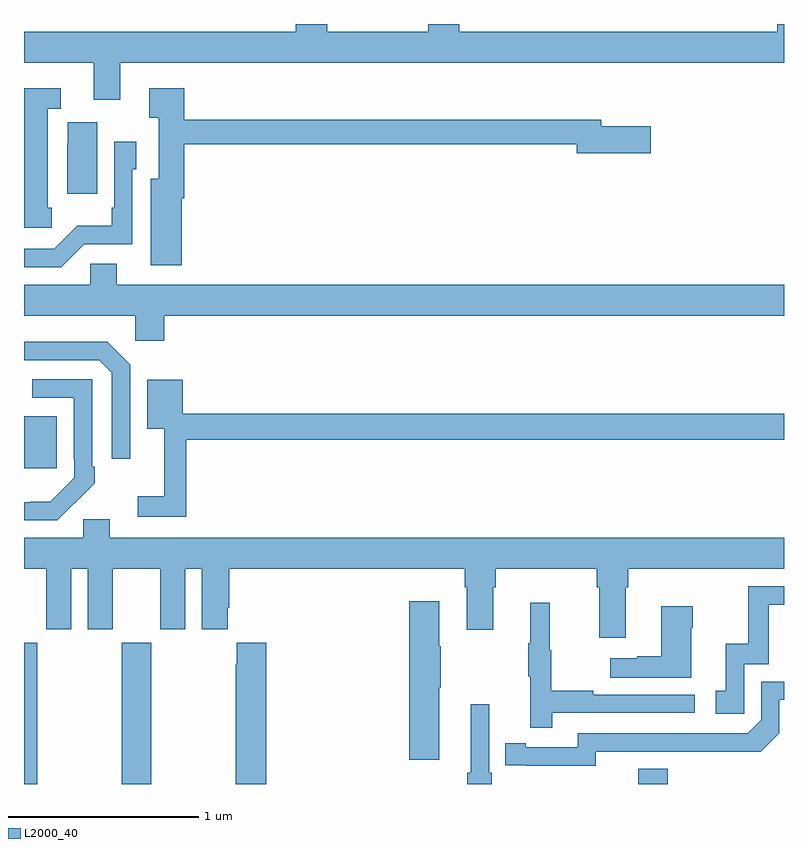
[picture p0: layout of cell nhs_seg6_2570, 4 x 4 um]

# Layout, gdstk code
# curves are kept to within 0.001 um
import gdstk
lib = gdstk.Library(unit=1e-6, precision=1e-09)
def R(c, l, rs):  # rectangles x0, y0, x1, y1
    for r in rs: c.add(gdstk.rectangle(r[:2], r[2:], *l))
def P(c, l, *ps):  # polygons
    for p in ps: c.add(gdstk.Polygon(p, *l))
L2000_40 = (2000, 40)

nhs_seg6_2570 = lib.new_cell('nhs_seg6_2570')
R(nhs_seg6_2570, L2000_40, [(263,983.5,263.07,984.244), (263.515,983.5,263.67,984.244), (266.234,983.5,266.387,983.581), (263,985.161,263.173,985.435)])
P(nhs_seg6_2570, L2000_40, [(263.506,987.296),(267,987.296),(267,987.5),(266.964,987.5),(266.964,987.46),(265.292,987.46),(265.292,987.5),(265.127,987.5),(265.127,987.46),(264.596,987.46),(264.596,987.5),(264.431,987.5),(264.431,987.46),(263,987.46),(263,987.296),(263.366,987.296),(263.366,987.102),(263.506,987.102)],
  [(263.83,986.582),(263.843,986.582),(263.843,986.866),(265.91,986.866),(265.91,986.819),(266.299,986.819),(266.299,986.961),(266.038,986.961),(266.038,986.995),(263.843,986.995),(263.843,987.163),(263.658,987.163),(263.658,987.007),(263.708,987.007),(263.708,986.686),(263.666,986.686),(263.666,986.229),(263.83,986.229)],
  [(263.147,986.532),(263.125,986.532),(263.125,987.055),(263.194,987.055),(263.194,987.163),(263,987.163),(263,986.427),(263.147,986.427)],
  [(263.386,986.983),(263.23,986.983),(263.23,986.87),(263.228,986.87),(263.228,986.607),(263.386,986.607)],
  [(263.316,986.34),(263.571,986.34),(263.571,986.736),(263.592,986.736),(263.592,986.881),(263.475,986.881),(263.475,986.533),(263.463,986.533),(263.463,986.437),(263.281,986.437),(263.16,986.316),(263,986.316),(263,986.22),(263.196,986.22)],
  [(263.738,985.964),(267,985.964),(267,986.128),(263.488,986.128),(263.488,986.238),(263.349,986.238),(263.349,986.128),(263,986.128),(263,985.964),(263.586,985.964),(263.586,985.833),(263.738,985.833)],
  [(263.559,985.707),(263.438,985.828),(263,985.828),(263,985.731),(263.397,985.731),(263.463,985.665),(263.463,985.212),(263.559,985.212)],
  [(263.267,984.979),(263.268,984.978),(263.373,985.083),(263.373,985.171),(263.358,985.171),(263.358,985.629),(263.043,985.629),(263.043,985.533),(263.262,985.533),(263.262,985.213),(263.265,985.213),(263.265,985.113),(263.137,984.985),(263,984.984),(263,984.888),(263.176,984.888)],
  [(263.855,985.312),(267,985.312),(267,985.448),(263.835,985.448),(263.835,985.627),(263.648,985.627),(263.648,985.37),(263.738,985.37),(263.738,985.015),(263.598,985.015),(263.598,984.906),(263.855,984.906)],
  [(263.452,984.894),(263.313,984.894),(263.313,984.796),(263,984.796),(263,984.632),(263.117,984.632),(263.117,984.315),(263.248,984.315),(263.248,984.632),(263.336,984.632),(263.336,984.315),(263.467,984.315),(263.467,984.632),(263.717,984.632),(263.717,984.315),(263.848,984.315),(263.848,984.632),(263.936,984.632),(263.936,984.315),(264.073,984.315),(264.073,984.427),(264.08,984.427),(264.08,984.632),(265.319,984.632),(265.319,984.536),(265.331,984.536),(265.331,984.312),(265.471,984.312),(265.471,984.536),(265.484,984.536),(265.484,984.632),(266.015,984.632),(266.015,984.536),(266.027,984.536),(266.027,984.27),(266.167,984.27),(266.167,984.536),(266.18,984.536),(266.18,984.632),(267,984.632),(267,984.796),(263.452,984.796)],
  [(266.79,984.129),(266.919,984.129),(266.919,984.444),(267,984.444),(267,984.54),(266.811,984.54),(266.811,984.238),(266.693,984.238),(266.693,983.991),(266.64,983.991),(266.64,983.871),(266.79,983.871)],
  [(265.186,984.007),(265.194,984.007),(265.194,984.224),(265.186,984.224),(265.186,984.463),(265.028,984.463),(265.028,983.628),(265.186,983.628)],
  [(265.781,983.874),(266.53,983.874),(266.53,983.97),(265.997,983.97),(265.997,983.99),(265.774,983.99),(265.774,984.204),(265.766,984.204),(265.766,984.454),(265.664,984.454),(265.664,984.241),(265.653,984.241),(265.653,984.067),(265.664,984.067),(265.664,983.796),(265.781,983.796)],
  [(266.512,984.323),(266.52,984.323),(266.52,984.436),(266.354,984.436),(266.354,984.173),(266.228,984.173),(266.228,984.163),(266.085,984.163),(266.085,984.059),(266.512,984.059)],
  [(264.275,984.244),(264.119,984.244),(264.119,984.131),(264.115,984.131),(264.115,983.5),(264.275,983.5)],
  [(266.01,983.67),(266.878,983.669),(266.976,983.766),(266.976,983.943),(267,983.943),(267,984.039),(266.88,984.039),(266.88,983.838),(266.808,983.766),(265.914,983.766),(265.914,983.694),(265.642,983.694),(265.642,983.714),(265.534,983.714),(265.534,983.598),(266.01,983.597)],
  [(265.463,983.56),(265.449,983.56),(265.449,983.92),(265.352,983.92),(265.352,983.56),(265.333,983.56),(265.333,983.5),(265.463,983.5)])

lib.write_gds('nhs_seg6_2570.gds')
